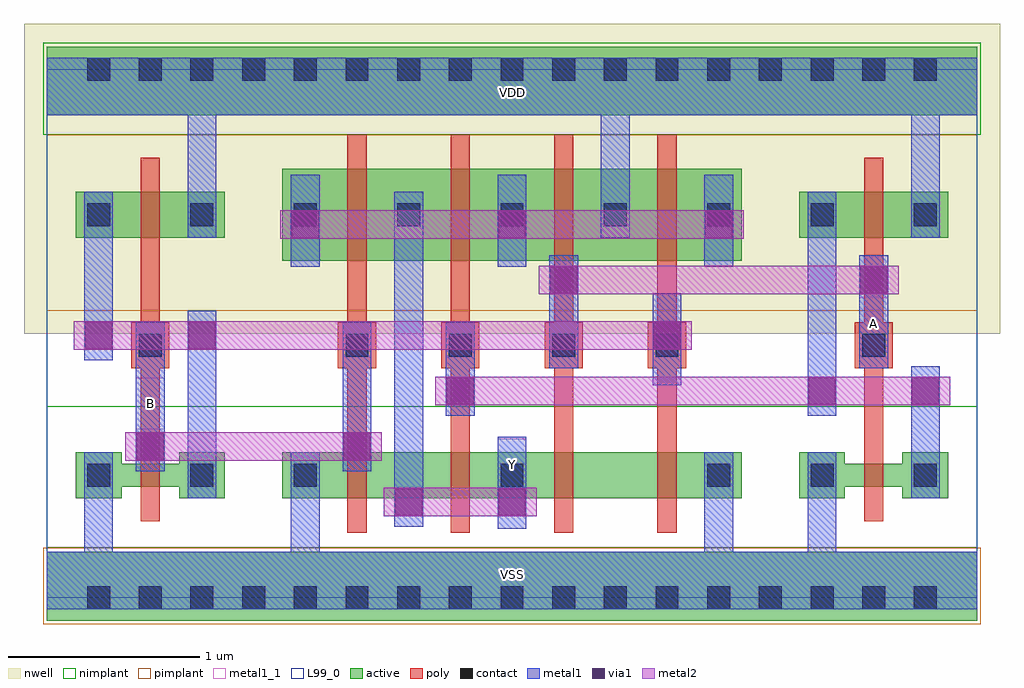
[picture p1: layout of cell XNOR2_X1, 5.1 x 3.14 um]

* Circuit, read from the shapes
.subckt XNOR2_X1 A B VDD VSS Y
M1 n1 B VSS VSS nfet w=0.12u l=0.1u
M2 n2 B VSS VSS nfet w=0.24u l=0.1u
M3 Y n3 n2 VSS nfet w=0.24u l=0.1u
M4 n4 A Y VSS nfet w=0.24u l=0.1u
M5 VSS n1 n4 VSS nfet w=0.24u l=0.1u
M6 n3 A VSS VSS nfet w=0.12u l=0.1u
M7 VDD B n1 VDD pfet w=0.24u l=0.1u
M8 Y B n5 VDD pfet w=0.48u l=0.1u
M9 n5 n3 Y VDD pfet w=0.48u l=0.1u
M10 VDD A n5 VDD pfet w=0.48u l=0.1u
M11 n5 n1 VDD VDD pfet w=0.48u l=0.1u
M12 VDD A n3 VDD pfet w=0.24u l=0.1u
.ends

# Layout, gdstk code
import gdstk
lib = gdstk.Library(unit=1e-6, precision=5e-10)
def R(c, l, rs):  # rectangles x0, y0, x1, y1
    for r in rs: c.add(gdstk.rectangle(r[:2], r[2:], *l))
def A(c, l, x, y, w, h, nx, ny, dx, dy):  # array of equal rectangles
    R(c, l, [(x+i*dx, y+j*dy, x+i*dx+w, y+j*dy+h) for i in range(nx) for j in range(ny)])
active = (1, 0)
nwell = (2, 0)
poly = (3, 0)
nimplant = (4, 0)
pimplant = (5, 0)
contact = (6, 0)
metal1 = (7, 0)
metal1_1 = (7, 1)
via1 = (8, 0)
metal2 = (9, 0)
L99_0 = (99, 0)

xnor2_x1 = lib.new_cell('XNOR2_X1')
A(xnor2_x1, active, 0.15, 0.52, 0.24, 0.24, 9, 1, 0.54, 0)
A(xnor2_x1, active, 1.47, 0.52, 0.3, 0.24, 4, 1, 0.54, 0)
A(xnor2_x1, active, 1.23, 1.76, 0.24, 0.48, 5, 1, 0.54, 0)
A(xnor2_x1, active, 1.47, 1.76, 0.3, 0.48, 4, 1, 0.54, 0)
R(xnor2_x1, active, [(0,-0.12,4.86,0.24), (0.39,0.58,0.69,0.7), (4.17,0.58,4.47,0.7), (0.15,1.88,0.39,2.12), (0.39,1.88,0.69,2.12), (0.69,1.88,0.93,2.12), (3.93,1.88,4.17,2.12), (4.17,1.88,4.47,2.12), (4.47,1.88,4.71,2.12), (0,2.52,4.86,2.88)])
R(xnor2_x1, nwell, [(-0.12,1.38,4.98,3)])
A(xnor2_x1, poly, 1.57, 0.34, 0.1, 2.08, 4, 1, 0.54, 0)
A(xnor2_x1, poly, 1.52, 1.2, 0.2, 0.24, 4, 1, 0.54, 0)
R(xnor2_x1, poly, [(0.49,0.4,0.59,2.3), (4.27,0.4,4.37,2.3), (0.44,1.2,0.64,1.44), (4.22,1.2,4.42,1.44)])
R(xnor2_x1, nimplant, [(0,0.26,4.86,1), (-0.02,2.42,4.88,2.9)])
R(xnor2_x1, pimplant, [(-0.02,-0.14,4.88,0.26), (0,1.5,4.86,2.42)])
A(xnor2_x1, contact, 0.21, -0.06, 0.12, 0.12, 17, 2, 0.27, 2.76)
A(xnor2_x1, contact, 0.21, 0.58, 0.12, 0.12, 3, 1, 0.54, 0)
A(xnor2_x1, contact, 3.45, 0.58, 0.12, 0.12, 3, 1, 0.54, 0)
A(xnor2_x1, contact, 1.56, 1.26, 0.12, 0.12, 4, 1, 0.54, 0)
A(xnor2_x1, contact, 0.21, 1.94, 0.12, 0.12, 9, 1, 0.54, 0)
R(xnor2_x1, contact, [(2.37,0.58,2.49,0.7), (0.48,1.26,0.6,1.38), (4.26,1.26,4.38,1.38)])
A(xnor2_x1, metal1, 1.275, 1.73, 0.15, 0.48, 3, 1, 1.08, 0)
R(xnor2_x1, metal1, [(0,-0.06,4.86,0.24), (0.195,0,0.345,0.76), (1.275,0,1.425,0.76), (3.435,0,3.585,0.76), (3.975,0,4.125,0.76), (2.355,0.36,2.505,0.84), (1.815,0.37,1.965,2.12), (0.735,0.52,0.885,1.5), (4.515,0.52,4.665,1.21), (0.465,0.66,0.615,1.44), (1.545,0.66,1.695,1.44), (2.085,0.95,2.235,1.44), (3.975,0.95,4.125,2.12), (3.165,1.11,3.315,1.59), (2.625,1.2,2.775,1.79), (4.245,1.2,4.395,1.79), (0.195,1.24,0.345,2.12), (0.735,1.88,0.885,2.76), (2.895,1.88,3.045,2.76), (4.515,1.88,4.665,2.76), (0,2.52,4.86,2.82)])
R(xnor2_x1, metal1_1, [(0,0,4.86,0.24), (2.355,0.56,2.505,0.83), (0.465,0.88,0.615,1.15), (4.245,1.3,4.395,1.57), (0,2.52,4.86,2.76)])
A(xnor2_x1, via1, 1.28, 1.88, 0.14, 0.14, 3, 1, 1.08, 0)
R(xnor2_x1, via1, [(1.82,0.43,1.96,0.57), (2.36,0.43,2.5,0.57), (0.47,0.72,0.61,0.86), (1.55,0.72,1.69,0.86), (2.09,1.01,2.23,1.15), (3.98,1.01,4.12,1.15), (4.52,1.01,4.66,1.15), (0.2,1.3,0.34,1.44), (0.74,1.3,0.88,1.44), (3.17,1.3,3.31,1.44), (2.63,1.59,2.77,1.73), (4.25,1.59,4.39,1.73)])
R(xnor2_x1, metal2, [(1.76,0.425,2.56,0.575), (0.41,0.715,1.75,0.865), (2.03,1.005,4.72,1.155), (0.14,1.295,3.37,1.445), (2.57,1.585,4.45,1.735), (1.22,1.875,3.64,2.025)])
R(xnor2_x1, L99_0, [(0,0,4.86,2.76)])
xnor2_x1.add(gdstk.Label('Y', (2.43,0.695), layer=7, texttype=3))
xnor2_x1.add(gdstk.Label('B', (0.54,1.015), layer=7, texttype=3))
xnor2_x1.add(gdstk.Label('A', (4.32,1.435), layer=7, texttype=3))
xnor2_x1.add(gdstk.Label('VDD', (2.43,2.64), layer=7, texttype=3))
xnor2_x1.add(gdstk.Label('VSS', (2.43,0.12), layer=7, texttype=3))

lib.write_gds('XNOR2_X1.gds')
